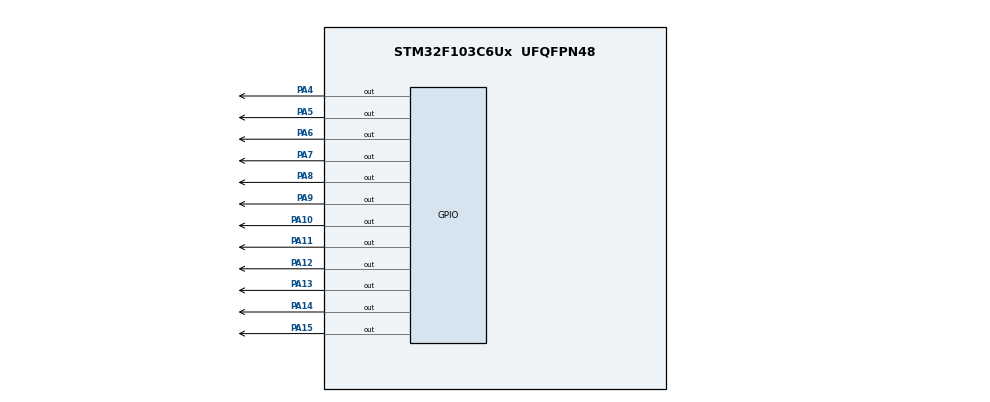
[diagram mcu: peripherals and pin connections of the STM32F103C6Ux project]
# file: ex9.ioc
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Mcu.Family=STM32F1
Mcu.Name=STM32F103C6Ux
Mcu.Package=UFQFPN48
NVIC.PriorityGroup=NVIC_PRIORITYGROUP_4
PA10.Signal=GPIO_Output
PA11.Signal=GPIO_Output
PA12.Signal=GPIO_Output
PA13.Signal=GPIO_Output
PA14.Signal=GPIO_Output
PA15.Signal=GPIO_Output
PA4.Signal=GPIO_Output
PA5.Signal=GPIO_Output
PA6.Signal=GPIO_Output
PA7.Signal=GPIO_Output
PA8.Signal=GPIO_Output
PA9.Signal=GPIO_Output
ProjectManager.HeapSize=0x200
ProjectManager.StackSize=0x400
ProjectManager.TargetToolchain=STM32CubeIDE
RCC.APB1Freq_Value=8000000
RCC.APB2Freq_Value=8000000
board=custom

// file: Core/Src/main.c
/* USER CODE BEGIN Header */
/**
  ******************************************************************************
  * @file           : main.c
  * @brief          : Main program body
  ******************************************************************************
  * @attention
  *
  * Copyright (c) 2022 STMicroelectronics.
  * All rights reserved.
  *
  * This software is licensed under terms that can be found in the LICENSE file
  * in the root directory of this software component.
  * If no LICENSE file comes with this software, it is provided AS-IS.
  *
  ******************************************************************************
  */
/* USER CODE END Header */
#include "main.h"

void SystemClock_Config(void);
static void MX_GPIO_Init(void);

/* USER CODE BEGIN 0 */
void setNumberOnClock(int num){
	HAL_GPIO_WritePin(GPIOA, GPIO_PIN_4|GPIO_PIN_5|GPIO_PIN_6|GPIO_PIN_7|GPIO_PIN_8|GPIO_PIN_9|GPIO_PIN_10|GPIO_PIN_11|GPIO_PIN_12|GPIO_PIN_13|GPIO_PIN_14|GPIO_PIN_15, RESET);
	switch(num) {
	case 0:{
		HAL_GPIO_WritePin(GPIOA, GPIO_PIN_4, SET);
		HAL_Delay(500);
		break;
	}
	case 1:{
		HAL_GPIO_WritePin(GPIOA, GPIO_PIN_5, SET);
		HAL_Delay(500);
		break;
	}
	case 2:{
			HAL_GPIO_WritePin(GPIOA, GPIO_PIN_6, SET);
			HAL_Delay(500);
			break;
	}
	case 3:{
				HAL_GPIO_WritePin(GPIOA, GPIO_PIN_7, SET);
				HAL_Delay(500);
				break;
		}
	case 4:{
				HAL_GPIO_WritePin(GPIOA, GPIO_PIN_8, SET);
				HAL_Delay(500);
				break;
		}
	case 5:{
				HAL_GPIO_WritePin(GPIOA, GPIO_PIN_9, SET);
				HAL_Delay(500);
				break;
		}
	case 6:{
				HAL_GPIO_WritePin(GPIOA, GPIO_PIN_10, SET);
				HAL_Delay(500);
				break;
		}
	case 7:{
				HAL_GPIO_WritePin(GPIOA, GPIO_PIN_11, SET);
				HAL_Delay(500);
				break;
		}
	case 8:{
				HAL_GPIO_WritePin(GPIOA, GPIO_PIN_12, SET);
				HAL_Delay(500);
				break;
		}
	case 9:{
				HAL_GPIO_WritePin(GPIOA, GPIO_PIN_13, SET);
				HAL_Delay(500);
				break;
		}
	case 10:{
				HAL_GPIO_WritePin(GPIOA, GPIO_PIN_14, SET);
				HAL_Delay(500);
				break;
		}
	case 11:{
				HAL_GPIO_WritePin(GPIOA, GPIO_PIN_15, SET);
				HAL_Delay(500);
				break;
		}
	default:{break;}
}
}
/* USER CODE END 0 */

int main(void)
{
  /* USER CODE BEGIN 1 */
	setNumberOnClock(5);
  /* USER CODE END 1 */

  /* MCU Configuration--------------------------------------------------------*/

  /* Reset of all peripherals, Initializes the Flash interface and the Systick. */
  HAL_Init();

  /* Configure the system clock */
  SystemClock_Config();

  /* Initialize all configured peripherals */
  MX_GPIO_Init();

  /* Infinite loop */
  while (1)
  {

  }
}

void SystemClock_Config(void)
{
  RCC_OscInitTypeDef RCC_OscInitStruct = {0};
  RCC_ClkInitTypeDef RCC_ClkInitStruct = {0};

  /** Initializes the RCC Oscillators according to the specified parameters
  * in the RCC_OscInitTypeDef structure.
  */
  RCC_OscInitStruct.OscillatorType = RCC_OSCILLATORTYPE_HSI;
  RCC_OscInitStruct.HSIState = RCC_HSI_ON;
  RCC_OscInitStruct.HSICalibrationValue = RCC_HSICALIBRATION_DEFAULT;
  RCC_OscInitStruct.PLL.PLLState = RCC_PLL_NONE;
  if (HAL_RCC_OscConfig(&RCC_OscInitStruct) != HAL_OK)
  {
    Error_Handler();
  }

  /** Initializes the CPU, AHB and APB buses clocks
  */
  RCC_ClkInitStruct.ClockType = RCC_CLOCKTYPE_HCLK|RCC_CLOCKTYPE_SYSCLK
                              |RCC_CLOCKTYPE_PCLK1|RCC_CLOCKTYPE_PCLK2;
  RCC_ClkInitStruct.SYSCLKSource = RCC_SYSCLKSOURCE_HSI;
  RCC_ClkInitStruct.AHBCLKDivider = RCC_SYSCLK_DIV1;
  RCC_ClkInitStruct.APB1CLKDivider = RCC_HCLK_DIV1;
  RCC_ClkInitStruct.APB2CLKDivider = RCC_HCLK_DIV1;

  if (HAL_RCC_ClockConfig(&RCC_ClkInitStruct, FLASH_LATENCY_0) != HAL_OK)
  {
    Error_Handler();
  }
}

static void MX_GPIO_Init(void)
{
  GPIO_InitTypeDef GPIO_InitStruct = {0};

  /* GPIO Ports Clock Enable */
  __HAL_RCC_GPIOA_CLK_ENABLE();

  /*Configure GPIO pin Output Level */
  HAL_GPIO_WritePin(GPIOA, GPIO_PIN_4|GPIO_PIN_5|GPIO_PIN_6|GPIO_PIN_7
                          |GPIO_PIN_8|GPIO_PIN_9|GPIO_PIN_10|GPIO_PIN_11
                          |GPIO_PIN_12|GPIO_PIN_13|GPIO_PIN_14|GPIO_PIN_15, GPIO_PIN_RESET);

  /*Configure GPIO pins : PA4 PA5 PA6 PA7
                           PA8 PA9 PA10 PA11
                           PA12 PA13 PA14 PA15 */
  GPIO_InitStruct.Pin = GPIO_PIN_4|GPIO_PIN_5|GPIO_PIN_6|GPIO_PIN_7
                          |GPIO_PIN_8|GPIO_PIN_9|GPIO_PIN_10|GPIO_PIN_11
                          |GPIO_PIN_12|GPIO_PIN_13|GPIO_PIN_14|GPIO_PIN_15;
  GPIO_InitStruct.Mode = GPIO_MODE_OUTPUT_PP;
  GPIO_InitStruct.Pull = GPIO_NOPULL;
  GPIO_InitStruct.Speed = GPIO_SPEED_FREQ_LOW;
  HAL_GPIO_Init(GPIOA, &GPIO_InitStruct);

}

void Error_Handler(void)
{
  __disable_irq();
  while (1)
  {
  }
}
